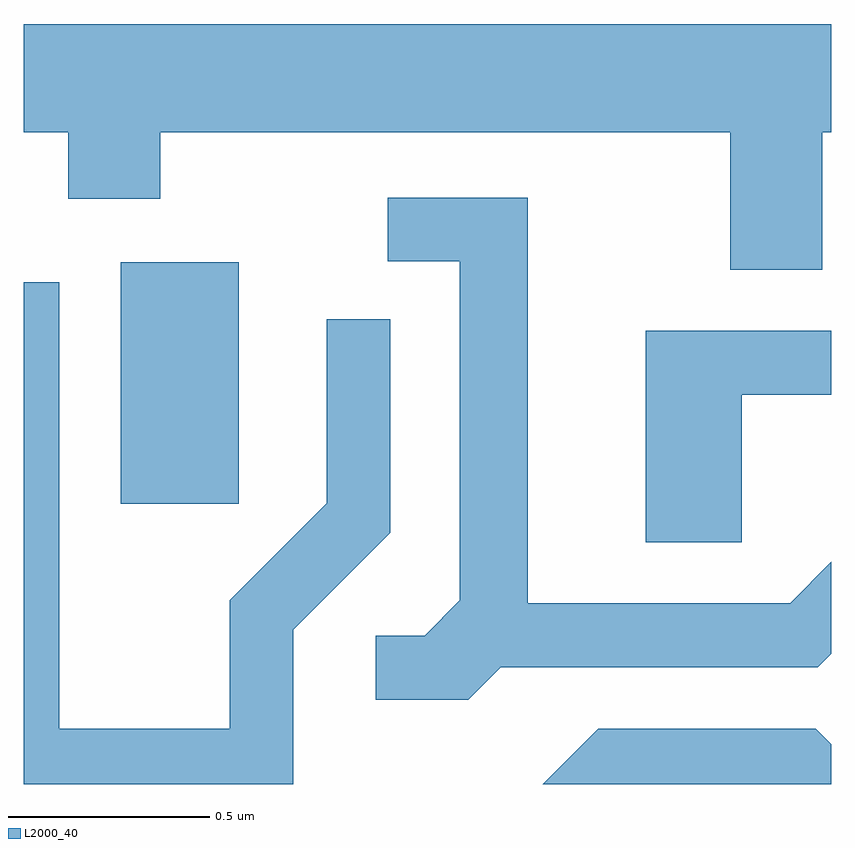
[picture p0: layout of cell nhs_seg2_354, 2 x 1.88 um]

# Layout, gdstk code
import gdstk
lib = gdstk.Library(unit=1e-6, precision=1e-09)
def R(c, l, rs):  # rectangles x0, y0, x1, y1
    for r in rs: c.add(gdstk.rectangle(r[:2], r[2:], *l))
def P(c, l, *ps):  # polygons
    for p in ps: c.add(gdstk.Polygon(p, *l))
L2000_40 = (2000, 40)

nhs_seg2_354 = lib.new_cell('nhs_seg2_354')
R(nhs_seg2_354, L2000_40, [(187.851,1058.496,188.144,1059.094)])
P(nhs_seg2_354, L2000_40, [(189.589,1059.416),(189.611,1059.416),(189.611,1059.684),(187.611,1059.684),(187.611,1059.416),(187.721,1059.416),(187.721,1059.251),(187.949,1059.251),(187.949,1059.416),(189.361,1059.416),(189.361,1059.076),(189.589,1059.076)],
  [(188.792,1058.091),(189.577,1058.091),(189.611,1058.125),(189.611,1058.352),(189.509,1058.249),(188.859,1058.249),(188.859,1059.254),(188.513,1059.254),(188.513,1059.096),(188.691,1059.096),(188.691,1058.257),(188.604,1058.169),(188.483,1058.169),(188.483,1058.011),(188.712,1058.011)],
  [(188.279,1058.184),(188.519,1058.424),(188.519,1058.953),(188.361,1058.953),(188.361,1058.497),(188.121,1058.257),(188.121,1057.939),(187.699,1057.939),(187.699,1059.044),(187.611,1059.044),(187.611,1057.802),(188.279,1057.802)],
  [(189.389,1058.766),(189.611,1058.766),(189.611,1058.924),(189.151,1058.924),(189.151,1058.401),(189.389,1058.401)],
  [(189.611,1057.9),(189.572,1057.939),(189.034,1057.939),(188.897,1057.802),(189.611,1057.802)])

lib.write_gds('nhs_seg2_354.gds')
